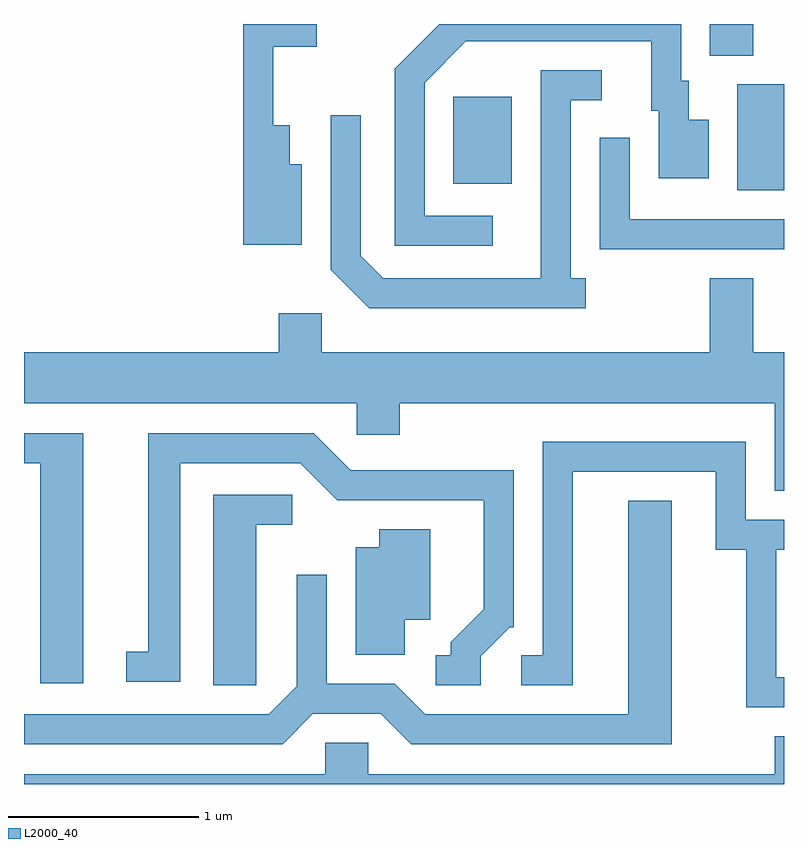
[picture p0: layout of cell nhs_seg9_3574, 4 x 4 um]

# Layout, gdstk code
import gdstk
lib = gdstk.Library(unit=1e-6, precision=1e-09)
def R(c, l, rs):  # rectangles x0, y0, x1, y1
    for r in rs: c.add(gdstk.rectangle(r[:2], r[2:], *l))
def P(c, l, *ps):  # polygons
    for p in ps: c.add(gdstk.Polygon(p, *l))
L2000_40 = (2000, 40)

nhs_seg9_3574 = lib.new_cell('nhs_seg9_3574')
R(nhs_seg9_3574, L2000_40, [(293.366,2039.556,293.611,2040.114), (291.871,2039.591,292.179,2040.049), (293.221,2040.266,293.449,2040.432)])
P(nhs_seg9_3574, L2000_40, [(291.074,2039.694),(291.009,2039.694),(291.009,2039.899),(290.924,2039.899),(290.924,2040.311),(291.153,2040.311),(291.153,2040.432),(290.766,2040.432),(290.766,2039.271),(291.074,2039.271)],
  [(292.078,2039.424),(291.719,2039.424),(291.719,2040.124),(291.937,2040.341),(292.911,2040.341),(292.911,2039.976),(292.951,2039.976),(292.951,2039.621),(293.214,2039.621),(293.214,2039.929),(293.109,2039.929),(293.109,2040.134),(293.069,2040.134),(293.069,2040.432),(291.797,2040.432),(291.561,2040.197),(291.561,2039.266),(292.078,2039.266)],
  [(292.568,2039.094),(292.489,2039.094),(292.489,2040.031),(292.653,2040.031),(292.653,2040.189),(292.331,2040.189),(292.331,2039.094),(291.502,2039.094),(291.384,2039.212),(291.384,2039.953),(291.226,2039.953),(291.226,2039.139),(291.429,2038.936),(292.568,2038.936)],
  [(293.611,2039.404),(292.799,2039.404),(292.799,2039.833),(292.641,2039.833),(292.641,2039.246),(293.611,2039.246)],
  [(293.611,2038.704),(293.449,2038.704),(293.449,2039.094),(293.221,2039.094),(293.221,2038.704),(291.179,2038.704),(291.179,2038.909),(290.951,2038.909),(290.951,2038.704),(289.611,2038.704),(289.611,2038.436),(291.361,2038.436),(291.361,2038.271),(291.589,2038.271),(291.589,2038.436),(293.561,2038.436),(293.561,2037.976),(293.611,2037.976)],
  [(289.924,2038.279),(289.611,2038.279),(289.611,2038.121),(289.696,2038.121),(289.696,2036.961),(289.924,2036.961)],
  [(292.014,2037.104),(292.167,2037.256),(292.189,2037.256),(292.189,2038.084),(291.332,2038.084),(291.137,2038.279),(290.266,2038.279),(290.266,2037.129),(290.148,2037.129),(290.148,2036.971),(290.434,2036.971),(290.434,2038.121),(291.064,2038.121),(291.259,2037.926),(292.031,2037.926),(292.031,2037.352),(291.856,2037.177),(291.856,2037.109),(291.778,2037.109),(291.778,2036.951),(292.014,2036.951)],
  [(293.611,2036.994),(293.569,2036.994),(293.569,2037.666),(293.611,2037.666),(293.611,2037.824),(293.409,2037.824),(293.409,2038.234),(292.341,2038.234),(292.341,2037.109),(292.228,2037.109),(292.228,2036.951),(292.499,2036.951),(292.499,2038.076),(293.251,2038.076),(293.251,2037.666),(293.411,2037.666),(293.411,2036.836),(293.611,2036.836)],
  [(290.834,2037.796),(291.023,2037.796),(291.023,2037.954),(290.606,2037.954),(290.606,2036.951),(290.834,2036.951)],
  [(291.132,2036.801),(291.489,2036.801),(291.649,2036.641),(293.019,2036.641),(293.019,2037.924),(292.791,2037.924),(292.791,2036.799),(291.722,2036.799),(291.562,2036.959),(291.204,2036.959),(291.204,2037.533),(291.046,2037.533),(291.046,2036.947),(290.899,2036.799),(289.611,2036.799),(289.611,2036.641),(290.972,2036.641)],
  [(291.614,2037.296),(291.749,2037.296),(291.749,2037.774),(291.481,2037.774),(291.481,2037.679),(291.356,2037.679),(291.356,2037.111),(291.614,2037.111)],
  [(293.611,2036.684),(293.561,2036.684),(293.561,2036.484),(291.424,2036.484),(291.424,2036.649),(291.196,2036.649),(291.196,2036.484),(289.611,2036.484),(289.611,2036.432),(293.611,2036.432)])

lib.write_gds('nhs_seg9_3574.gds')
